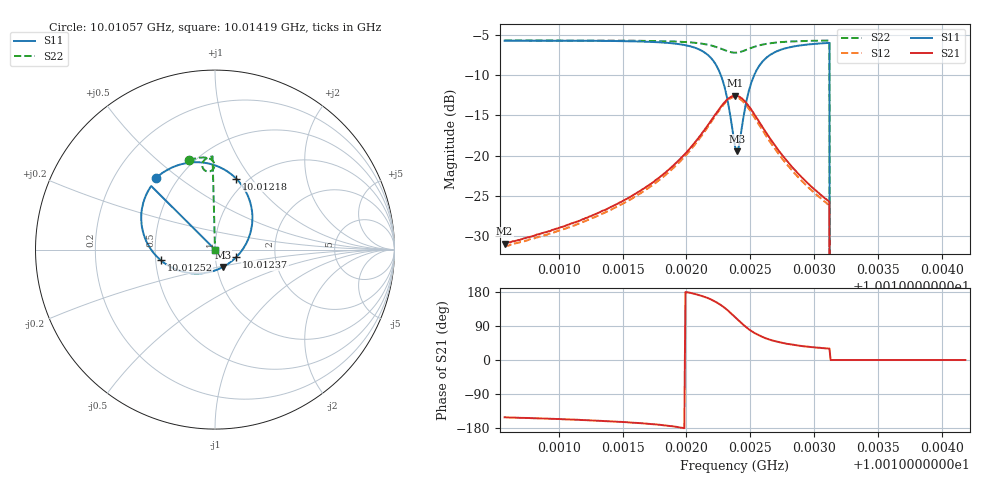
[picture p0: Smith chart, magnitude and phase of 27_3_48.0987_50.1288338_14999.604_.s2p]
#  HZ  S  RI  R  50.00
! Rohde & Schwarz Vector Network Analyzer
! Rohde-Schwarz,ZNB20-2Port,1311601062101988,3.16
! Created: UTC 12/23/2023, 3:37:17 AM
! freq[Hz]  re:S11  im:S11  re:S21  im:S21  re:S12  im:S12  re:S22  im:S22
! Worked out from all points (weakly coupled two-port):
!   401 points, 10.01057 GHz to 10.01419 GHz, reference 50 ohm
!   highest |S21| = -12.54 dB at 10.01238 GHz (marker M1); lowest = -30.9 dB at 10.01057 GHz (marker M2)
!   lowest |S11| = -19.4 dB at 10.0124 GHz (marker M3), VSWR 1.24, Z = 53.5 - j10.5 ohm
!   |S11| at or under -10 dB: 10.01227 GHz to 10.01253 GHz (261.4 kHz wide, 0.00261 % of centre); 10.01312 GHz to end of sweep
!   |S22| runs from - to -5.7 dB; largest |S21 - S12| = 0.011
!   S11 on the Smith chart (normalised r, x): 10.01057 GHz: 0.38, +0.42; 10.01218 GHz: 0.89, +0.85; 10.01237 GHz: 1.27, -0.11; 10.01252 GHz: 0.53, -0.07; 10.01419 GHz: 1.00, +0.00
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1.0010575e10  -0.3293 0.4002  -0.0249 -0.0137  -0.0233 -0.0145  -0.1451 0.499
1.0011179e10  -0.2719 0.4405  -0.0372 -0.0148  -0.0351 -0.0161  -0.1037 0.5091
1.0011784e10  -0.1518 0.4833  -0.0719 -0.0116  -0.0689 -0.0148  -0.0542 0.5128
1.0012046e10  -0.0137 0.474  -0.1153 0.00813  -0.1122 0.00218  -0.0245 0.5042
1.0012182e10  0.1183 0.3951  -0.1522 0.0513  -0.1511 0.0421  -0.00713 0.4864
1.0012245e10  0.1838 0.2979  -0.1645 0.0942  -0.166 0.0836  -0.00303 0.4703
1.001229e10  0.2083 0.1904  -0.1619 0.1354  -0.1647 0.1265  -0.00582 0.4557
1.0012326e10  0.1949 0.0857  -0.1456 0.1725  -0.1499 0.1637  -0.0133 0.4445
1.0012371e10  0.119 -0.0414  -0.1036 0.2115  -0.1084 0.2042  -0.0299 0.4356
1.001238e10  0.0957 -0.0627  -0.0927 0.217  -0.0981 0.2096  -0.0338 0.4351
1.0012398e10  0.0438 -0.0974  -0.0702 0.2243  -0.075 0.2175  -0.0416 0.4352
1.0012416e10  -0.0124 -0.1205  -0.0479 0.227  -0.0519 0.2201  -0.0491 0.4373
1.0012452e10  -0.1289 -0.1323  -0.00389 0.2199  -0.00849 0.2129  -0.0613 0.4452
1.0012525e10  -0.3022 -0.0594  0.054 0.1766  0.0471 0.1708  -0.0711 0.4675
1.0012588e10  -0.376 0.0334  0.0721 0.1362  0.065 0.132  -0.0688 0.4838
1.0012669e10  -0.408 0.1336  0.076 0.097  0.0687 0.095  -0.0604 0.4975
1.0012805e10  -0.4043 0.2417  0.0668 0.0595  0.061 0.0592  -0.0445 0.5097
1.0012985e10  -0.3765 0.3193  0.0528 0.0354  0.0488 0.0358  -0.0259 0.5166
1.0013102e10  -0.3584 0.3505  0.0458 0.0268  0.0422 0.0275  -0.0151 0.519
1.0013148e10  0 0  0 0  0 0  0 0
1.001359e10  0 0  0 0  0 0  0 0
1.0014186e10  0 0  0 0  0 0  0 0
